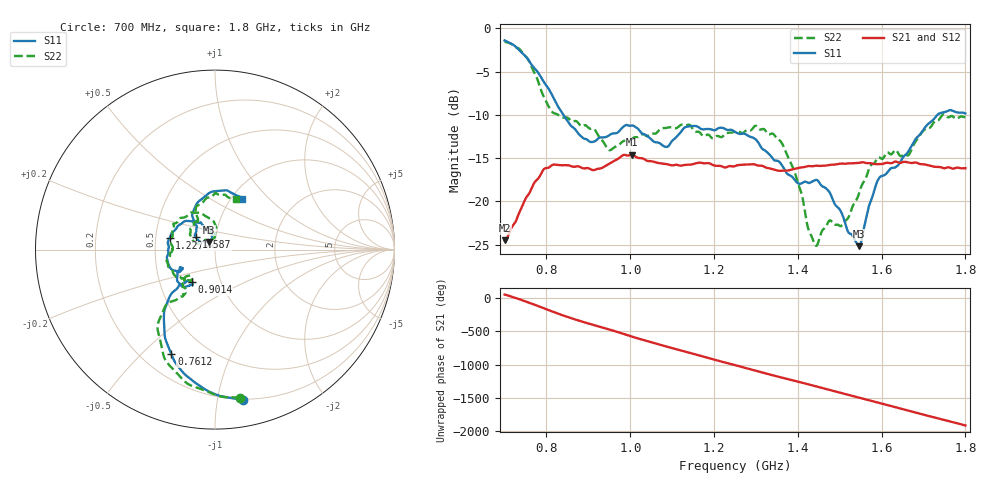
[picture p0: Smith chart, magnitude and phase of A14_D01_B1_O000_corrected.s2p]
! Created with skrf 1.9.0 (http://scikit-rf.org).
# Hz S RI R 50.0
!freq ReS11 ImS11 ReS21 ImS21 ReS12 ImS12 ReS22 ImS22
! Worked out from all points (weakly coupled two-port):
!   1601 points, 700 MHz to 1.8 GHz, reference 50 ohm
!   highest |S21| = -14.62 dB at 1.003 GHz (marker M1); lowest = -24.5 dB at 700 MHz (marker M2)
!   lowest |S11| = -25.2 dB at 1.546 GHz (marker M3), VSWR 1.12, Z = 46.5 + j4.02 ohm
!   |S11| at or under -10 dB: 840.2 MHz to 1.734 GHz (893.3 MHz wide, 69.4 % of centre)
!   |S22| runs from -25.2 to -1.5 dB; largest |S21 - S12| = 0.0038
!   S11 on the Smith chart (normalised r, x): 700 MHz: 0.20, -1.19; 761.2 MHz: 0.32, -0.62; 901.4 MHz: 0.73, -0.27; 1.227 GHz: 0.59, +0.08; 1.587 GHz: 0.80, +0.11; 1.8 GHz: 1.12, +0.71
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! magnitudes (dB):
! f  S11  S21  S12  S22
! 700 MHz  -1.4  -24.5  -24.3  -1.5
! 761.2 MHz  -4.0  -18.9  -18.8  -4.1
! 812.1 MHz  -7.6  -15.9  -15.8  -9.6
! 883.6 MHz  -12.5  -16.1  -16.0  -11.3
! 901.4 MHz  -13.1  -16.2  -16.2  -11.5
! 950.2 MHz  -12.3  -15.7  -15.7  -14.1
! 1.003 GHz  -11.2  -14.6  -14.7  -12.8
! 1.067 GHz  -13.2  -15.6  -15.5  -11.9
! 1.137 GHz  -11.4  -15.8  -15.7  -11.2
! 1.227 GHz  -11.7  -16.1  -16.0  -12.2
! 1.25 GHz  -12.0  -15.9  -15.9  -11.9
! 1.3 GHz  -12.9  -15.8  -15.8  -11.3
! 1.36 GHz  -15.7  -16.5  -16.5  -13.1
! 1.394 GHz  -17.6  -16.2  -16.2  -16.9
! 1.434 GHz  -17.7  -16.0  -15.9  -24.2
! 1.506 GHz  -21.6  -15.6  -15.6  -22.7
! 1.546 GHz  -25.2  -15.6  -15.5  -19.0
! 1.587 GHz  -18.0  -15.7  -15.7  -15.3
! 1.617 GHz  -16.4  -15.6  -15.5  -14.4
! 1.664 GHz  -14.2  -15.5  -15.5  -14.7
! 1.735 GHz  -9.9  -16.0  -16.1  -10.6
! 1.8 GHz  -9.9  -16.2  -16.2  -10.3
